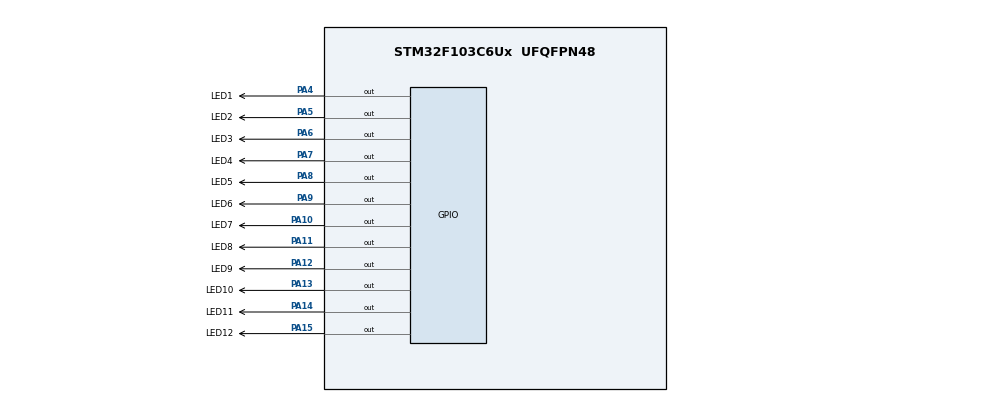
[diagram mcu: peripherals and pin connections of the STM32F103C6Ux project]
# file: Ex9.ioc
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Mcu.Family=STM32F1
Mcu.Name=STM32F103C6Ux
Mcu.Package=UFQFPN48
NVIC.PriorityGroup=NVIC_PRIORITYGROUP_4
PA10.GPIO_Label=LED7
PA10.Signal=GPIO_Output
PA11.GPIO_Label=LED8
PA11.Signal=GPIO_Output
PA12.GPIO_Label=LED9
PA12.Signal=GPIO_Output
PA13.GPIO_Label=LED10
PA13.Signal=GPIO_Output
PA14.GPIO_Label=LED11
PA14.Signal=GPIO_Output
PA15.GPIO_Label=LED12
PA15.Signal=GPIO_Output
PA4.GPIO_Label=LED1
PA4.Signal=GPIO_Output
PA5.GPIO_Label=LED2
PA5.Signal=GPIO_Output
PA6.GPIO_Label=LED3
PA6.Signal=GPIO_Output
PA7.GPIO_Label=LED4
PA7.Signal=GPIO_Output
PA8.GPIO_Label=LED5
PA8.Signal=GPIO_Output
PA9.GPIO_Label=LED6
PA9.Signal=GPIO_Output
ProjectManager.HeapSize=0x200
ProjectManager.StackSize=0x400
ProjectManager.TargetToolchain=STM32CubeIDE
RCC.APB1Freq_Value=8000000
RCC.APB2Freq_Value=8000000
VP_SYS_VS_ND.Mode=No_Debug
board=custom

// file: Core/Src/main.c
/* USER CODE BEGIN Header */
/**
  ******************************************************************************
  * @file           : main.c
  * @brief          : Main program body
  ******************************************************************************
  * @attention
  *
  * <h2><center>&copy; Copyright (c) 2026 STMicroelectronics.
  * All rights reserved.</center></h2>
  *
  * This software component is licensed by ST under BSD 3-Clause license,
  * the "License"; You may not use this file except in compliance with the
  * License. You may obtain a copy of the License at:
  *                        opensource.org/licenses/BSD-3-Clause
  *
  ******************************************************************************
  */
/* USER CODE END Header */
#include "main.h"

/* USER CODE BEGIN PV */
uint16_t LED_Pins[12] = {
  LED1_Pin, LED2_Pin, LED3_Pin, LED4_Pin,
  LED5_Pin, LED6_Pin, LED7_Pin, LED8_Pin,
  LED9_Pin, LED10_Pin, LED11_Pin, LED12_Pin
};
/* USER CODE END PV */

void SystemClock_Config(void);
static void MX_GPIO_Init(void);
/* USER CODE BEGIN PFP */
void clearAllClock(void);
void setNumberOnClock(int num);
void clearNumberOnClock(int num);
/* USER CODE END PFP */

int main(void)
{

  /* MCU Configuration--------------------------------------------------------*/

  /* Reset of all peripherals, Initializes the Flash interface and the Systick. */
  HAL_Init();

  /* Configure the system clock */
  SystemClock_Config();

  /* Initialize all configured peripherals */
  MX_GPIO_Init();
  /* USER CODE BEGIN 2 */
  clearAllClock();      // tắt hết LED khi khởi động

  setNumberOnClock(3);  // test: bật thử LED số 3
  HAL_Delay(1000);      // chờ 1 giây để quan sát trên Proteus
  clearNumberOnClock(3); // test: tắt lại LED số 3 vừa bật
  /* USER CODE END 2 */

  /* Infinite loop */
  while (1)
  {

  }
}

void SystemClock_Config(void)
{
  RCC_OscInitTypeDef RCC_OscInitStruct = {0};
  RCC_ClkInitTypeDef RCC_ClkInitStruct = {0};

  /** Initializes the RCC Oscillators according to the specified parameters
  * in the RCC_OscInitTypeDef structure.
  */
  RCC_OscInitStruct.OscillatorType = RCC_OSCILLATORTYPE_HSI;
  RCC_OscInitStruct.HSIState = RCC_HSI_ON;
  RCC_OscInitStruct.HSICalibrationValue = RCC_HSICALIBRATION_DEFAULT;
  RCC_OscInitStruct.PLL.PLLState = RCC_PLL_NONE;
  if (HAL_RCC_OscConfig(&RCC_OscInitStruct) != HAL_OK)
  {
    Error_Handler();
  }
  /** Initializes the CPU, AHB and APB buses clocks
  */
  RCC_ClkInitStruct.ClockType = RCC_CLOCKTYPE_HCLK|RCC_CLOCKTYPE_SYSCLK
                              |RCC_CLOCKTYPE_PCLK1|RCC_CLOCKTYPE_PCLK2;
  RCC_ClkInitStruct.SYSCLKSource = RCC_SYSCLKSOURCE_HSI;
  RCC_ClkInitStruct.AHBCLKDivider = RCC_SYSCLK_DIV1;
  RCC_ClkInitStruct.APB1CLKDivider = RCC_HCLK_DIV1;
  RCC_ClkInitStruct.APB2CLKDivider = RCC_HCLK_DIV1;

  if (HAL_RCC_ClockConfig(&RCC_ClkInitStruct, FLASH_LATENCY_0) != HAL_OK)
  {
    Error_Handler();
  }
}

static void MX_GPIO_Init(void)
{
  GPIO_InitTypeDef GPIO_InitStruct = {0};

  /* GPIO Ports Clock Enable */
  __HAL_RCC_GPIOA_CLK_ENABLE();

  /*Configure GPIO pin Output Level */
  HAL_GPIO_WritePin(GPIOA, LED1_Pin|LED2_Pin|LED3_Pin|LED4_Pin
                          |LED5_Pin|LED6_Pin|LED7_Pin|LED8_Pin
                          |LED9_Pin|LED10_Pin|LED11_Pin|LED12_Pin, GPIO_PIN_RESET);

  /*Configure GPIO pins : LED1_Pin LED2_Pin LED3_Pin LED4_Pin
                           LED5_Pin LED6_Pin LED7_Pin LED8_Pin
                           LED9_Pin LED10_Pin LED11_Pin LED12_Pin */
  GPIO_InitStruct.Pin = LED1_Pin|LED2_Pin|LED3_Pin|LED4_Pin
                          |LED5_Pin|LED6_Pin|LED7_Pin|LED8_Pin
                          |LED9_Pin|LED10_Pin|LED11_Pin|LED12_Pin;
  GPIO_InitStruct.Mode = GPIO_MODE_OUTPUT_PP;
  GPIO_InitStruct.Pull = GPIO_NOPULL;
  GPIO_InitStruct.Speed = GPIO_SPEED_FREQ_LOW;
  HAL_GPIO_Init(GPIOA, &GPIO_InitStruct);

}

/* USER CODE BEGIN 4 */
void clearAllClock(void)
{
  for (int i = 0; i < 12; i++)
  {
    HAL_GPIO_WritePin(GPIOA, LED_Pins[i], GPIO_PIN_SET);   // SET = tắt LED (mạch active-low)
  }
}

void setNumberOnClock(int num)
{
  if (num >= 0 && num <= 11)
  {
    HAL_GPIO_WritePin(GPIOA, LED_Pins[num], GPIO_PIN_RESET); // RESET = sáng LED (active-low)
  }
}

void clearNumberOnClock(int num)
{
  if (num >= 0 && num <= 11)
  {
    HAL_GPIO_WritePin(GPIOA, LED_Pins[num], GPIO_PIN_SET);   // SET = tắt LED (active-low)
  }
}
/* USER CODE END 4 */

void Error_Handler(void)
{
  __disable_irq();
  while (1)
  {
  }
}

/************************ (C) COPYRIGHT STMicroelectronics *****END OF FILE****/
